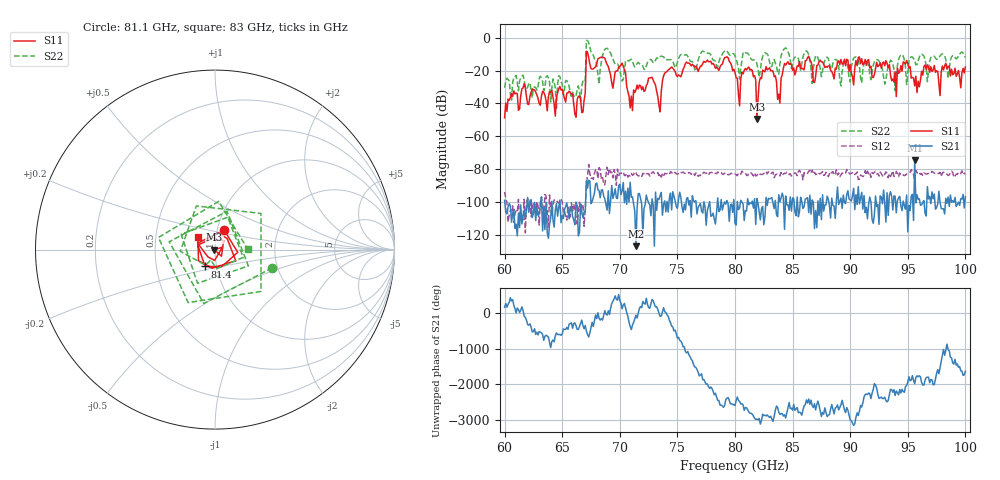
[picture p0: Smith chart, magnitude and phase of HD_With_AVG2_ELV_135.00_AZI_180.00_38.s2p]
! 11/25/2026 10:29:07 AM
! C:\ANRITSUVNA\TEMP\TEMP.S2P
! CHANNEL.1
! TR.MEASUREMENT
! RAW.DATA
# HZ S RI R 50.0
! FREQ.HZ  S11RE  S11IM  S21RE  S21IM  S12RE  S12IM  S22RE  S22IM
!; PortSelection: Port_12
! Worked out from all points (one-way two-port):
!   401 points, 60 GHz to 100 GHz, reference 50 ohm
!   highest |S21| = -74.75 dB at 95.6 GHz (marker M1); lowest = -127.0 dB at 71.4 GHz (marker M2)
!   lowest |S11| = -49.4 dB at 81.9 GHz (marker M3), VSWR 1.01, Z = 49.7 - j0.0423 ohm
!   |S11| at or under -10 dB: start of sweep to 67.09 GHz; 67.23 GHz to end of sweep
!   |S22| runs from -42.9 to -1.7 dB; largest |S21 - S12| = 0.00022
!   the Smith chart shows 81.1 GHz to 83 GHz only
!   S11 on the Smith chart (normalised r, x): 81.1 GHz: 1.08, +0.24; 81.4 GHz: 0.88, -0.17; 83 GHz: 0.82, +0.12
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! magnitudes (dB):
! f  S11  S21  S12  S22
! 60 GHz  -48.8  -99.0  -94.0  -30.5
! 61.6 GHz  -30.6  -108.8  -110.9  -22.8
! 66.7 GHz  -45.7  -106.1  -102.2  -29.5
! 67.3 GHz  -12.1  -86.8  -77.2  -3.2
! 68.1 GHz  -13.0  -92.7  -85.9  -22.5
! 68.8 GHz  -14.7  -101.5  -83.6  -6.6
! 70.2 GHz  -15.5  -93.3  -82.0  -26.4
! 71.4 GHz  -31.9  -127.0  -82.1  -17.1
! 72.7 GHz  -24.4  -108.4  -82.8  -13.3
! 73.4 GHz  -41.3  -98.5  -84.0  -12.6
! 74.4 GHz  -18.6  -94.7  -81.6  -13.4
! 80 GHz  -21.2  -113.1  -83.1  -11.0
! 81.1 GHz  -18.4  -98.1  -84.0  -9.5
! 81.4 GHz  -19.3  -101.1  -82.4  -13.0
! 81.9 GHz  -49.4  -97.9  -84.0  -15.7
! 83 GHz  -18.4  -98.2  -82.4  -14.8
! 83.8 GHz  -34.4  -95.7  -83.9  -22.3
! 84.5 GHz  -15.5  -101.8  -81.8  -7.0
! 86.7 GHz  -17.6  -98.8  -80.6  -27.9
! 93.4 GHz  -16.4  -96.1  -82.9  -15.6
! 95.6 GHz  -29.4  -74.7  -87.2  -13.8
! 100 GHz  -17.9  -96.8  -83.1  -12.1
